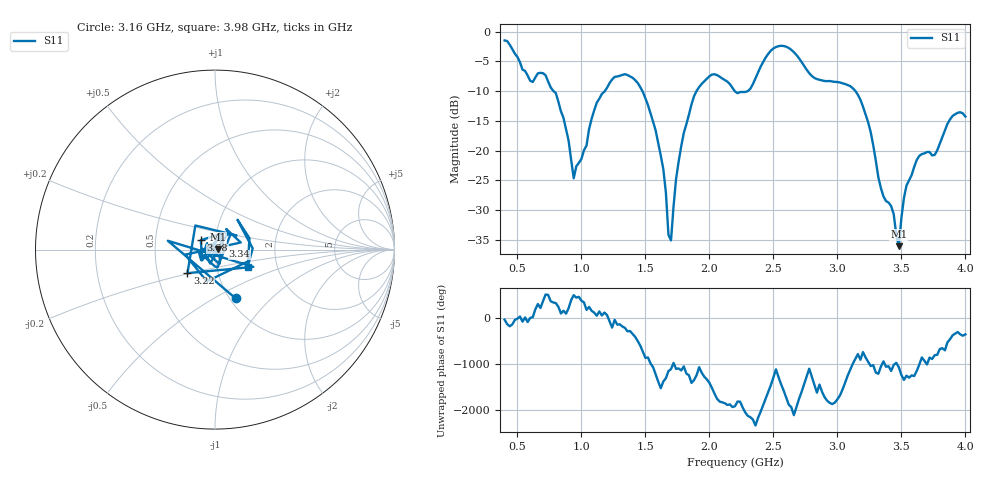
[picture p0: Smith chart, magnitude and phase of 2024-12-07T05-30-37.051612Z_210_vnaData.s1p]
!Created with skrf (http://scikit-rf.org).
# Hz S RI R 50.0
!freq ReS11 ImS11
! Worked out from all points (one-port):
!   181 points, 400 MHz to 4 GHz, reference 50 ohm
!   lowest |S11| = -36.1 dB at 3.48 GHz (marker M1), VSWR 1.03, Z = 51.6 + j0.145 ohm
!   |S11| at or under -10 dB: 782.8 MHz to 1.182 GHz (399.7 MHz wide, 40.7 % of centre); 1.477 GHz to 1.899 GHz (422.3 MHz wide, 25 % of centre); 3.142 GHz to end of sweep (the widest 3 of 4)
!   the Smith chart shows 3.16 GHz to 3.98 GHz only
!   S11 on the Smith chart (normalised r, x): 3.16 GHz: 1.06, -0.63; 3.22 GHz: 0.71, -0.19; 3.34 GHz: 1.09, +0.04; 3.68 GHz: 0.85, +0.09; 3.98 GHz: 1.41, -0.28
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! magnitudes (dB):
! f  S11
! 400 MHz  -1.5
! 600 MHz  -8.3
! 720 MHz  -7.3
! 860 MHz  -14.5
! 940 MHz  -24.7
! 1.12 GHz  -11.9
! 1.3 GHz  -7.4
! 1.52 GHz  -12.3
! 1.64 GHz  -23.1
! 1.68 GHz  -34.1
! 1.7 GHz  -35.1
! 1.76 GHz  -21.8
! 1.92 GHz  -9.3
! 2.04 GHz  -7.2
! 2.2 GHz  -10.1
! 2.5 GHz  -2.8
! 2.66 GHz  -3.4
! 3.1 GHz  -9.2
! 3.16 GHz  -10.6
! 3.22 GHz  -13.9
! 3.34 GHz  -26.3
! 3.44 GHz  -30.7
! 3.48 GHz  -36.1
! 3.52 GHz  -27.9
! 3.56 GHz  -25.0
! 3.68 GHz  -20.5
! 3.98 GHz  -13.7
! 4 GHz  -14.3
